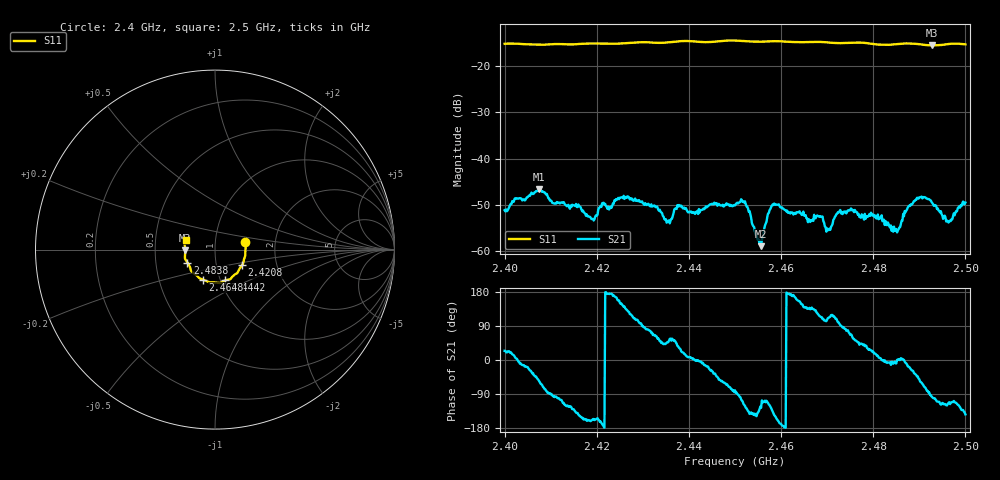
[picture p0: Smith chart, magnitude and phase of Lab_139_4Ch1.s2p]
# Hz S RI R 50
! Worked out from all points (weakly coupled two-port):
!   601 points, 2.4 GHz to 2.5 GHz, reference 50 ohm
!   highest |S21| = -46.63 dB at 2.4075 GHz (marker M1); lowest = -58.9 dB at 2.4557 GHz (marker M2)
!   lowest |S11| = -15.6 dB at 2.4928 GHz (marker M3), VSWR 1.40, Z = 35.8 - j0.348 ohm
!   |S11| at or under -10 dB: start of sweep to end of sweep
!   S12 and S22 are empty: the file has one direction only
!   S11 on the Smith chart (normalised r, x): 2.4 GHz: 1.40, +0.12; 2.4208 GHz: 1.33, -0.24; 2.4442 GHz: 1.05, -0.37; 2.4648 GHz: 0.83, -0.29; 2.4838 GHz: 0.73, -0.11; 2.5 GHz: 0.72, +0.08
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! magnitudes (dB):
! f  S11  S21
! 2.4 GHz  -15.2  -51.1
! 2.4075 GHz  -15.4  -46.6
! 2.4167 GHz  -15.2  -50.9
! 2.4192 GHz  -15.2  -53.0
! 2.4208 GHz  -15.2  -50.2
! 2.4333 GHz  -15.0  -51.0
! 2.4357 GHz  -14.9  -53.3
! 2.4442 GHz  -14.9  -50.2
! 2.45 GHz  -14.5  -50.1
! 2.4523 GHz  -14.7  -49.8
! 2.4557 GHz  -14.8  -58.9
! 2.4583 GHz  -14.7  -50.0
! 2.4648 GHz  -14.9  -51.4
! 2.4667 GHz  -14.8  -53.3
! 2.4703 GHz  -15.0  -55.4
! 2.4752 GHz  -15.0  -50.7
! 2.4833 GHz  -15.5  -54.1
! 2.4838 GHz  -15.4  -54.4
! 2.4897 GHz  -15.3  -48.4
! 2.4928 GHz  -15.6  -49.6
! 2.4963 GHz  -15.3  -53.8
! 2.5 GHz  -15.4  -49.5
